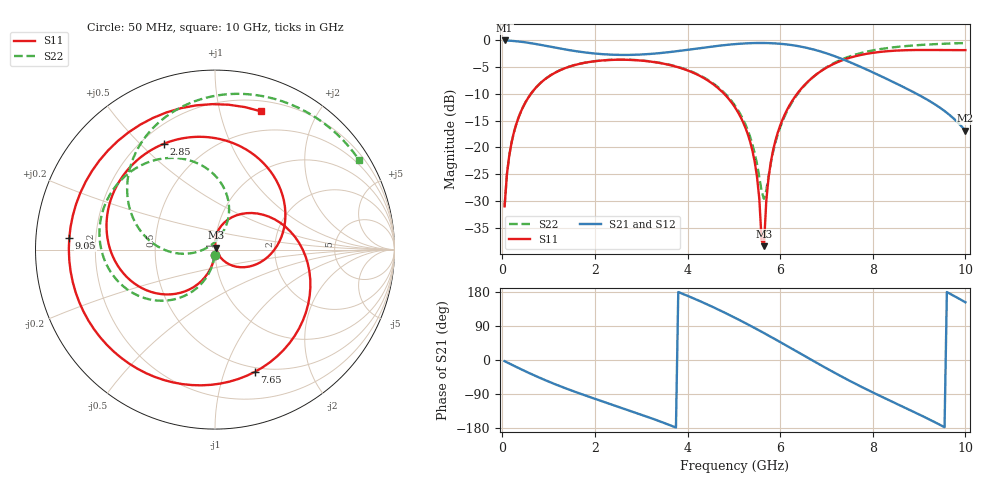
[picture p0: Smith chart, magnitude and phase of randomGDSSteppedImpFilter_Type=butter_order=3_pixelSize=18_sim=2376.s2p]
! freq	dB(S11)	phase(S11)	dB(S12)	phase(S12)
!  dB(S21)	phase(S21)	dB(S22)	phase(S22)
!S-par simulation data
#  GHz  S  DB  R 50
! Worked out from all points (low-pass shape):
!   200 points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, 50 MHz to 10 GHz, reference 50 ohm
!   highest |S21| = -0.01 dB at 50 MHz (marker M1); lowest = -16.9 dB at 10 GHz (marker M2)
!   |S21| within 3 dB of the highest: start of sweep to 7.197 GHz
!   lowest |S11| = -38.4 dB at 5.65 GHz (marker M3), VSWR 1.02, Z = 50.5 + j1.11 ohm
!   |S11| at or under -10 dB: start of sweep to 616.5 MHz; 4.794 GHz to 6.364 GHz (1.57 GHz wide, 28.1 % of centre)
!   |S22| runs from -31.0 to -0.5 dB; largest |S21 - S12| = 0
!   S11 on the Smith chart (normalised r, x): 50 MHz: 1.00, -0.06; 2.85 GHz: 0.29, +0.59; 7.65 GHz: 0.45, -1.27; 9.05 GHz: 0.10, +0.04; 10 GHz: 0.30, +1.35
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0.05  -31.00 -93.4  -0.01 -3.1  -0.01 -3.1  -31.00 -93.0
0.2  -19.08 -103.6  -0.07 -12.2  -0.07 -12.2  -19.08 -101.8
0.5  -11.58 -122.7  -0.36 -29.9  -0.36 -29.9  -11.57 -118.3
1.05  -6.48 -154.8  -1.19 -59.5  -1.19 -59.5  -6.47 -145.2
1.75  -4.22 169.3  -2.21 -91.8  -2.21 -91.8  -4.21 -173.9
2.85  -3.67 115.9  -2.68 -137.8  -2.68 -137.8  -3.65 147.9
3.4  -4.21 87.0  -2.37 -161.8  -2.37 -161.8  -4.17 129.2
4.3  -6.78 31.9  -1.41 153.6  -1.41 153.6  -6.68 97.2
5.05  -12.84 -23.1  -0.67 109.9  -0.67 109.9  -12.50 70.7
5.45  -22.64 -52.6  -0.49 84.4  -0.49 84.4  -21.07 67.5
5.55  -29.61 -54.3  -0.48 77.8  -0.48 77.8  -25.53 80.0
5.6  -37.35 -38.6  -0.48 74.5  -0.48 74.5  -28.19 97.2
5.65  -38.44 67.0  -0.48 71.2  -0.48 71.2  -29.59 127.3
5.75  -25.60 88.0  -0.50 64.5  -0.50 64.5  -25.34 174.2
5.9  -18.66 79.0  -0.56 54.3  -0.56 54.3  -19.00 -171.8
6.7  -6.91 9.0  -1.65 -1.3  -1.65 -1.3  -6.94 163.5
7.15  -4.41 -30.4  -2.86 -32.0  -2.86 -32.0  -4.28 143.1
7.65  -2.90 -72.0  -4.60 -64.3  -4.60 -64.3  -2.58 120.7
8.35  -1.99 -127.0  -7.39 -106.0  -7.39 -106.0  -1.39 91.6
9.05  -1.78 175.6  -10.45 -146.5  -10.45 -146.5  -0.84 65.1
9.5  -1.81 131.9  -12.87 -174.1  -12.87 -174.1  -0.63 49.0
10  -1.81 71.5  -16.86 152.3  -16.86 152.3  -0.49 31.7
